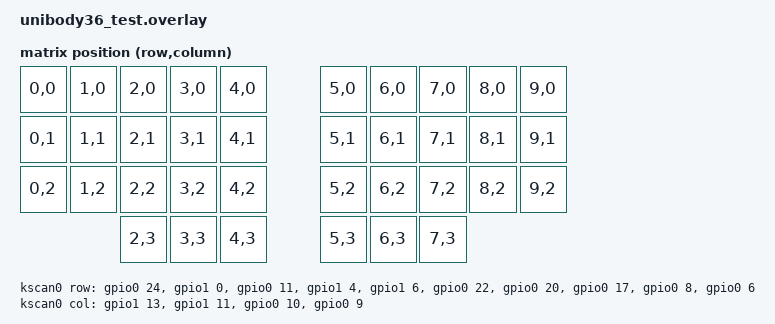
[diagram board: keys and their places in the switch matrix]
/*
 * TEST VERSION - Rows and Columns SWAPPED
 * Try this if the normal version doesn't work
 */

#include <dt-bindings/zmk/matrix_transform.h>

/ {
    chosen {
        zmk,kscan = &kscan0;
        zmk,matrix_transform = &default_transform;
    };

    default_transform: keymap_transform_0 {
        compatible = "zmk,matrix-transform";
        columns = <4>;  // SWAPPED - was 10
        rows = <10>;    // SWAPPED - was 4

        // Matrix mapping for 36-key unibody layout
        map = <
RC(0,0) RC(1,0) RC(2,0) RC(3,0) RC(4,0)  RC(5,0) RC(6,0) RC(7,0) RC(8,0) RC(9,0)
RC(0,1) RC(1,1) RC(2,1) RC(3,1) RC(4,1)  RC(5,1) RC(6,1) RC(7,1) RC(8,1) RC(9,1)
RC(0,2) RC(1,2) RC(2,2) RC(3,2) RC(4,2)  RC(5,2) RC(6,2) RC(7,2) RC(8,2) RC(9,2)
                RC(2,3) RC(3,3) RC(4,3)  RC(5,3) RC(6,3) RC(7,3)
        >;
    };

    kscan0: kscan {
        compatible = "zmk,kscan-gpio-matrix";
        label = "KSCAN";

        diode-direction = "col2row";  // Also swapped back

        // SWAPPED: What we called "columns" are actually rows
        row-gpios
            = <&gpio0 24 (GPIO_ACTIVE_HIGH | GPIO_PULL_DOWN)>  // P0.24
            , <&gpio1 0  (GPIO_ACTIVE_HIGH | GPIO_PULL_DOWN)>  // P1.00
            , <&gpio0 11 (GPIO_ACTIVE_HIGH | GPIO_PULL_DOWN)>  // P0.11
            , <&gpio1 4  (GPIO_ACTIVE_HIGH | GPIO_PULL_DOWN)>  // P1.04
            , <&gpio1 6  (GPIO_ACTIVE_HIGH | GPIO_PULL_DOWN)>  // P1.06
            , <&gpio0 22 (GPIO_ACTIVE_HIGH | GPIO_PULL_DOWN)>  // P0.22
            , <&gpio0 20 (GPIO_ACTIVE_HIGH | GPIO_PULL_DOWN)>  // P0.20
            , <&gpio0 17 (GPIO_ACTIVE_HIGH | GPIO_PULL_DOWN)>  // P0.17
            , <&gpio0 8  (GPIO_ACTIVE_HIGH | GPIO_PULL_DOWN)>  // P0.08
            , <&gpio0 6  (GPIO_ACTIVE_HIGH | GPIO_PULL_DOWN)>  // P0.06
            ;

        // SWAPPED: What we called "rows" are actually columns
        col-gpios
            = <&gpio1 13 GPIO_ACTIVE_HIGH>  // P1.13
            , <&gpio1 11 GPIO_ACTIVE_HIGH>  // P1.11
            , <&gpio0 10 GPIO_ACTIVE_HIGH>  // P0.10
            , <&gpio0 9  GPIO_ACTIVE_HIGH>  // P0.09
            ;
    };
};
